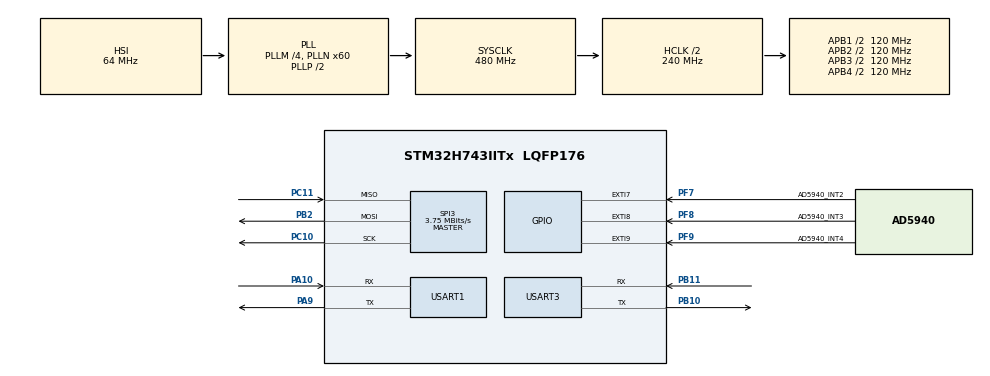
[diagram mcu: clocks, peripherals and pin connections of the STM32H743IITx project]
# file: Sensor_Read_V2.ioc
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Mcu.Family=STM32H7
Mcu.Name=STM32H743IITx
Mcu.Package=LQFP176
NVIC.EXTI9_5_IRQn=true\:0\:0\:false\:false\:true\:true\:true
NVIC.PriorityGroup=NVIC_PRIORITYGROUP_4
NVIC.USART1_IRQn=true\:0\:0\:false\:false\:true\:true\:true
NVIC.USART3_IRQn=true\:0\:0\:false\:false\:true\:true\:true
PA10.Mode=Asynchronous
PA10.Signal=USART1_RX
PA9.Mode=Asynchronous
PA9.Signal=USART1_TX
PB10.Mode=Asynchronous
PB10.Signal=USART3_TX
PB11.Mode=Asynchronous
PB11.Signal=USART3_RX
PB2.Mode=Full_Duplex_Master
PB2.Signal=SPI3_MOSI
PC10.Mode=Full_Duplex_Master
PC10.Signal=SPI3_SCK
PC11.Mode=Full_Duplex_Master
PC11.Signal=SPI3_MISO
PF7.GPIO_Label=AD5940_INT2
PF7.GPIO_ModeDefaultEXTI=GPIO_MODE_IT_FALLING
PF7.GPIO_PuPd=GPIO_PULLUP
PF7.Signal=GPXTI7
PF8.GPIO_Label=AD5940_INT3
PF8.GPIO_PuPd=GPIO_PULLUP
PF8.Signal=GPXTI8
PF9.GPIO_Label=AD5940_INT4
PF9.GPIO_PuPd=GPIO_PULLUP
PF9.Signal=GPXTI9
PH0-OSC_IN\ (PH0).Mode=HSE-External-Clock-Source
PH0-OSC_IN\ (PH0).Signal=RCC_OSC_IN
ProjectManager.HeapSize=0x200
ProjectManager.StackSize=0x400
ProjectManager.TargetToolchain=MDK-ARM V5.27
RCC.ADCFreq_Value=129000000
RCC.APB1Freq_Value=120000000
RCC.APB2Freq_Value=120000000
RCC.APB3Freq_Value=120000000
RCC.APB4Freq_Value=120000000
RCC.CortexFreq_Value=480000000
RCC.D1PPRE=RCC_APB3_DIV2
RCC.D2PPRE1=RCC_APB1_DIV2
RCC.D2PPRE2=RCC_APB2_DIV2
RCC.D3PPRE=RCC_APB4_DIV2
RCC.DIVM1=4
RCC.DIVN1=60
RCC.HCLKFreq_Value=240000000
RCC.HPRE=RCC_HCLK_DIV2
RCC.PLLFRACN=0
RCC.SYSCLKFreq_VALUE=480000000
RCC.SYSCLKSource=RCC_SYSCLKSOURCE_PLLCLK
RCC.USBFreq_Value=480000000
SPI3.BaudRatePrescaler=SPI_BAUDRATEPRESCALER_128
SPI3.CalculateBaudRate=3.75 MBits/s
SPI3.DataSize=SPI_DATASIZE_8BIT
SPI3.Direction=SPI_DIRECTION_2LINES
SPI3.Mode=SPI_MODE_MASTER
SPI3.VirtualType=VM_MASTER
USART1.VirtualMode-Asynchronous=VM_ASYNC
USART3.VirtualMode-Asynchronous=VM_ASYNC
board=custom

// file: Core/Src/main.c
/* USER CODE BEGIN Header */
/**
  ******************************************************************************
  * @file           : main.c
  * @brief          : Main program body
  ******************************************************************************
  * @attention
  *
  * <h2><center>&copy; Copyright (c) 2020 STMicroelectronics.
  * All rights reserved.</center></h2>
  *
  * This software component is licensed by ST under BSD 3-Clause license,
  * the "License"; You may not use this file except in compliance with the
  * License. You may obtain a copy of the License at:
  *                        opensource.org/licenses/BSD-3-Clause
  *
  ******************************************************************************
  */
/* USER CODE END Header */
#include "main.h"
#include "spi.h"
#include "usart.h"
#include "gpio.h"

/* USER CODE BEGIN Includes */
#include "stdio.h"
#include "AD5940.h"
/* USER CODE END Includes */

/* USER CODE BEGIN PV */
int function_choose=0;
uint8_t aTxStartMessage[] = "ESP8266 WIFI control Terminal \n";
uint8_t aRxBuffer1;
uint8_t aRxBuffer3;
uint8_t Commandbuff[128];
uint8_t cmd_cnt=0;
/* USER CODE END PV */

void SystemClock_Config(void);

int main(void)
{

  /* MCU Configuration--------------------------------------------------------*/

  /* Reset of all peripherals, Initializes the Flash interface and the Systick. */
  HAL_Init();

  /* Configure the system clock */
  SystemClock_Config();

  /* Initialize all configured peripherals */
  MX_GPIO_Init();
  MX_USART1_UART_Init();
  MX_USART3_UART_Init();
  MX_SPI3_Init();
  /* USER CODE BEGIN 2 */

  HAL_UART_Receive_IT(&huart1, &aRxBuffer1, 1);
  HAL_UART_Receive_IT(&huart3, &aRxBuffer3, 1);
	AD5940_MCUResourceInit(0);    /* Initialize resources that AD5940 use, like SPI/GPIO/Interrupt. */
  printf("Hello AD5940-Build Time:%s\n",__TIME__);
  /* USER CODE END 2 */

  /* Infinite loop */
  while (1)
  {
    switch(function_choose)
    {
      case 1: AD5940_Main_IMP(); break;
      case 2: AD5940_Main_VOL(); break;
      case 3: AD5940_Main_AMP(); break;
      default: break;
    }
  }
}

void SystemClock_Config(void)
{
  RCC_OscInitTypeDef RCC_OscInitStruct = {0};
  RCC_ClkInitTypeDef RCC_ClkInitStruct = {0};
  RCC_PeriphCLKInitTypeDef PeriphClkInitStruct = {0};

  /** Supply configuration update enable
  */
  HAL_PWREx_ConfigSupply(PWR_LDO_SUPPLY);
  /** Configure the main internal regulator output voltage
  */
  __HAL_PWR_VOLTAGESCALING_CONFIG(PWR_REGULATOR_VOLTAGE_SCALE0);

  while(!__HAL_PWR_GET_FLAG(PWR_FLAG_VOSRDY)) {}
  /** Initializes the RCC Oscillators according to the specified parameters
  * in the RCC_OscInitTypeDef structure.
  */
  RCC_OscInitStruct.OscillatorType = RCC_OSCILLATORTYPE_HSI;
  RCC_OscInitStruct.HSIState = RCC_HSI_DIV1;
  RCC_OscInitStruct.HSICalibrationValue = RCC_HSICALIBRATION_DEFAULT;
  RCC_OscInitStruct.PLL.PLLState = RCC_PLL_ON;
  RCC_OscInitStruct.PLL.PLLSource = RCC_PLLSOURCE_HSI;
  RCC_OscInitStruct.PLL.PLLM = 4;
  RCC_OscInitStruct.PLL.PLLN = 60;
  RCC_OscInitStruct.PLL.PLLP = 2;
  RCC_OscInitStruct.PLL.PLLQ = 2;
  RCC_OscInitStruct.PLL.PLLR = 2;
  RCC_OscInitStruct.PLL.PLLRGE = RCC_PLL1VCIRANGE_3;
  RCC_OscInitStruct.PLL.PLLVCOSEL = RCC_PLL1VCOWIDE;
  RCC_OscInitStruct.PLL.PLLFRACN = 0;
  if (HAL_RCC_OscConfig(&RCC_OscInitStruct) != HAL_OK)
  {
    Error_Handler();
  }
  /** Initializes the CPU, AHB and APB buses clocks
  */
  RCC_ClkInitStruct.ClockType = RCC_CLOCKTYPE_HCLK|RCC_CLOCKTYPE_SYSCLK
                              |RCC_CLOCKTYPE_PCLK1|RCC_CLOCKTYPE_PCLK2
                              |RCC_CLOCKTYPE_D3PCLK1|RCC_CLOCKTYPE_D1PCLK1;
  RCC_ClkInitStruct.SYSCLKSource = RCC_SYSCLKSOURCE_PLLCLK;
  RCC_ClkInitStruct.SYSCLKDivider = RCC_SYSCLK_DIV1;
  RCC_ClkInitStruct.AHBCLKDivider = RCC_HCLK_DIV2;
  RCC_ClkInitStruct.APB3CLKDivider = RCC_APB3_DIV2;
  RCC_ClkInitStruct.APB1CLKDivider = RCC_APB1_DIV2;
  RCC_ClkInitStruct.APB2CLKDivider = RCC_APB2_DIV2;
  RCC_ClkInitStruct.APB4CLKDivider = RCC_APB4_DIV2;

  if (HAL_RCC_ClockConfig(&RCC_ClkInitStruct, FLASH_LATENCY_4) != HAL_OK)
  {
    Error_Handler();
  }
  PeriphClkInitStruct.PeriphClockSelection = RCC_PERIPHCLK_USART3|RCC_PERIPHCLK_USART1
                              |RCC_PERIPHCLK_SPI3;
  PeriphClkInitStruct.Spi123ClockSelection = RCC_SPI123CLKSOURCE_PLL;
  PeriphClkInitStruct.Usart234578ClockSelection = RCC_USART234578CLKSOURCE_D2PCLK1;
  PeriphClkInitStruct.Usart16ClockSelection = RCC_USART16CLKSOURCE_D2PCLK2;
  if (HAL_RCCEx_PeriphCLKConfig(&PeriphClkInitStruct) != HAL_OK)
  {
    Error_Handler();
  }
}

/* USER CODE BEGIN 4 */
void HAL_UART_RxCpltCallback(UART_HandleTypeDef *huart)
{
  if (huart == &huart1)
  {
    //choose = aRxBuffer1;

    for(uint8_t i=0; i<7; i++)
    {
      Commandbuff[i] = Commandbuff[i+1];
    }
    Commandbuff[7] = aRxBuffer1;

    if(Commandbuff[0] == 0xAA && Commandbuff[1] == 0xFF && Commandbuff[2] == 0xFF && Commandbuff[3] == 0xAA)
    {
      printf("read the right command frames \n");
      function_choose = Commandbuff[4];
      //decode command

    }

    //HAL_UART_Transmit(&huart1, &aRxBuffer1, 1, 100);
    //printf("\n");
    //if(aRxBuffer1 == 0x08) printf("get it %d \n", cmd_cnt);

    cmd_cnt ++;

    HAL_UART_Receive_IT(&huart1, &aRxBuffer1, 1);

  }

  // if (huart == &huart3)
  // {
  //   HAL_UART_Transmit(&huart1, &aRxBuffer3, 1, 100);
  //   HAL_UART_Receive_IT(&huart3, &aRxBuffer3, 1);
  // }
}

/* USER CODE END 4 */

void Error_Handler(void)
{
}

/************************ (C) COPYRIGHT STMicroelectronics *****END OF FILE****/
